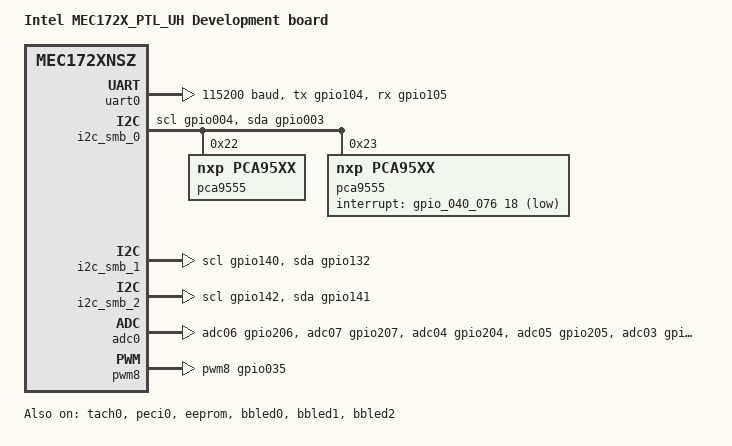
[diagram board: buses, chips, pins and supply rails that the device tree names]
/*
 * Copyright (c) 2024, Intel Corporation Inc.
 *
 * SPDX-License-Identifier: Apache-2.0
 */

/dts-v1/;

#include <microchip/mec172xnsz.dtsi>
#include <microchip/mec172x/mec172xnsz-pinctrl.dtsi>
#include "../mec172x-espi-based-board.dtsi"
#include "../mec172x-kscan-pinctrl-bias.dtsi"
#include "../mec172x-ps2-pinctrl-bias.dtsi"
#include "../mec172x-vw-ocp.dtsi"

/* Example of pin not defined in SoC DTS generic definitions */
&pinctrl {
	/omit-if-no-ref/ gpio063_gpio063: gpio063_gpio063 {
		pinmux = < MCHP_XEC_PINMUX(063, MCHP_AF0) >;
	};
};

/ {
	model = "Intel MEC172X_PTL_UH Development board";
	compatible = "microchip,mec172x_ptl_uh", "microchip,mec172xnsz";

	chosen {
		zephyr,sram = &sram0;
		zephyr,flash = &flash0;
		zephyr,console = &uart0;
	};

	aliases {
		pwm-0 = &pwm8;
		peci-0 = &peci0;
		i2c0 = &i2c_smb_0;
		i2c1 = &i2c_smb_1;
		i2c2 = &i2c_smb_2;

	};

	zephyr,user {
		/* Set as GPIos. These are not in GPIO mode due to HW default or ROM */
		pinctrl-0 = < &gpio000_gpio000 &gpio063_gpio063 &gpio161_gpio161 &gpio162_gpio162 >;
		pinctrl-names = "default";
	};

	power-states {
		suspend_to_ram_ov: suspend_to_ram {
			compatible = "zephyr,power-state";
			power-state-name = "suspend-to-ram";
			min-residency-us = <100000>;
		};
	};
};

&cpu0 {
	cpu-power-states = <&suspend_to_ram_ov>;
	clock-frequency = <96000000>;
	status = "okay";
};

&uart0 {
	status = "okay";
	current-speed = <115200>;
	pinctrl-0 = <&uart0_tx_gpio104 &uart0_rx_gpio105>;
	pinctrl-names = "default";
};

/* I2C */
&i2c_smb_0 {
	status = "okay";
	port_sel = <0>;
	pinctrl-0 = < &i2c00_scl_gpio004 &i2c00_sda_gpio003 >;
	pinctrl-names = "default";

	pca9555@22 {
		compatible = "nxp,pca95xx";

		/* Depends on JP53 for device address.
		 * Pin 1-2 = A0, pin 3-4 = A1, pin 5-6 = A2.
		 * Address is: 0100<A2><A1><A0>b.
		 *
		 * Default has pin 1-2 on JP53 connected,
		 * resulting in device address 0x26.
		 */
		reg = <0x22>;

		gpio-controller;
		#gpio-cells = <2>;
	};

	pca9555@23 {
		compatible = "nxp,pca95xx";

		/* Depends on JP53 for device address.
		 * Pin 1-2 = A0, pin 3-4 = A1, pin 5-6 = A2.
		 * Address is: 0100<A2><A1><A0>b.
		 *
		 * Default has pin 1-2 on JP53 connected,
		 * resulting in device address 0x26.
		 */
		reg = <0x23>;
		interrupt-gpios = <&gpio_040_076 18 GPIO_ACTIVE_LOW>;
		gpio-controller;
		#gpio-cells = <2>;
		ngpios = <16>;
	};
};

&i2c00_scl_gpio004 {
	drive-open-drain;
	output-enable;
	output-high;
};

&i2c00_sda_gpio003 {
	drive-open-drain;
	output-enable;
	output-high;
};

&i2c_smb_1 {
	status = "okay";
	port_sel = <6>;
	pinctrl-0 = <&i2c06_scl_gpio140 &i2c06_sda_gpio132 >;
	pinctrl-names = "default";
};

&i2c06_scl_gpio140 {
	drive-open-drain;
	output-enable;
	output-high;
};

&i2c06_sda_gpio132 {
	drive-open-drain;
	output-enable;
	output-high;
};

&i2c_smb_2 {
	status = "okay";
	port_sel = <5>;
	pinctrl-0 = <&i2c05_scl_gpio142 &i2c05_sda_gpio141>;
	pinctrl-names = "default";
};

&i2c05_scl_gpio142 {
	drive-open-drain;
	output-enable;
	output-high;
};

&i2c05_sda_gpio141 {
	drive-open-drain;
	output-enable;
	output-high;
};

&adc0 {
	status = "okay";
	pinctrl-0 = <&adc06_gpio206 &adc07_gpio207
		     &adc04_gpio204 &adc05_gpio205
		     &adc03_gpio203 &adc02_gpio202
		     &adc01_gpio201>;
	pinctrl-names = "default";
};

&tach0 {
	status = "okay";
	pinctrl-0 = < &tach0_gpio050 >;
	pinctrl-names = "default";
};

&peci0 {
	status = "okay";

	pinctrl-0 = < &peci_dat_gpio042 &vref_vtt_gpio044 >;
	pinctrl-names = "default";
};


&eeprom {
	status = "okay";

	pinctrl-0 = <&eeprom_cs_gpio116
		      &eeprom_clk_gpio117
		      &eeprom_mosi_gpio074
		      &eeprom_miso_gpio075>;
	pinctrl-names = "default";
};

&pwm8 {
	status = "okay";

	pinctrl-0 = < &pwm8_gpio035 >;
	pinctrl-names = "default";
};

&bbled0 {
	compatible = "microchip,xec-bbled";
	pinctrl-0 = <&led0_gpio156>;
	pinctrl-names = "default";
	status = "okay";
};

&bbled1 {
	compatible = "microchip,xec-bbled";
	pinctrl-0 = <&led1_gpio157>;
	pinctrl-names = "default";
	status = "okay";
};

&bbled2 {
	compatible = "microchip,xec-bbled";
	pinctrl-0 = <&led2_gpio153>;
	pinctrl-names = "default";
	status = "okay";
};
